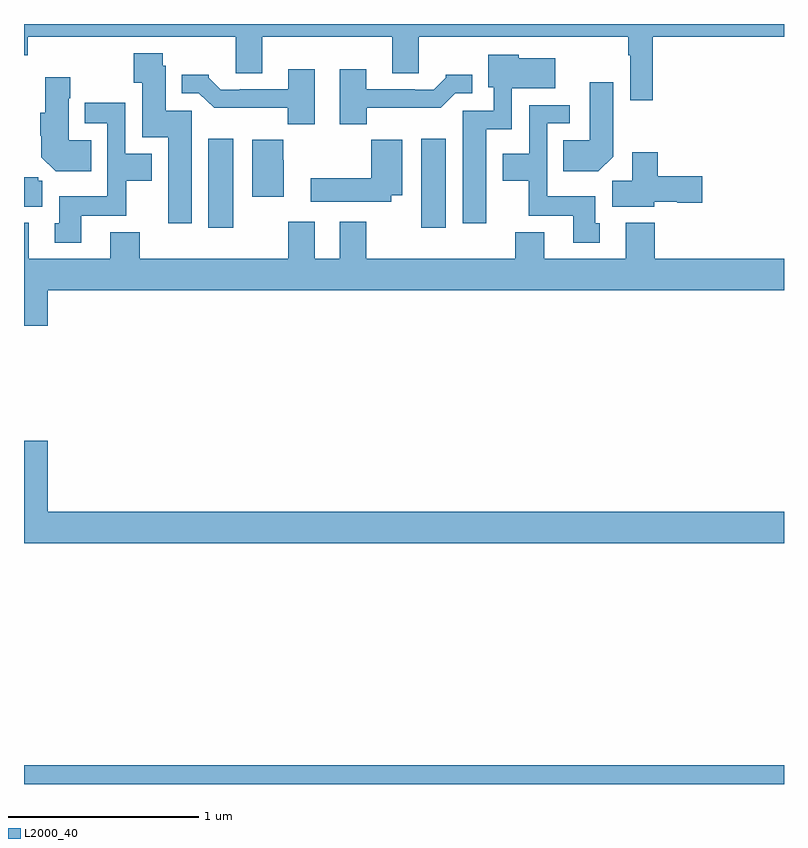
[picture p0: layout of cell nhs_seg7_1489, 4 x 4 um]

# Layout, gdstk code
import gdstk
lib = gdstk.Library(unit=1e-6, precision=1e-09)
def R(c, l, rs):  # rectangles x0, y0, x1, y1
    for r in rs: c.add(gdstk.rectangle(r[:2], r[2:], *l))
def P(c, l, *ps):  # polygons
    for p in ps: c.add(gdstk.Polygon(p, *l))
L2000_40 = (2000, 40)

nhs_seg7_1489 = lib.new_cell('nhs_seg7_1489')
R(nhs_seg7_1489, L2000_40, [(213,1014,217,1014.1), (213.971,1016.928,214.102,1017.397), (215.09,1016.928,215.221,1017.397)])
P(nhs_seg7_1489, L2000_40, [(217,1018),(213,1018),(213,1017.836),(213.02,1017.836),(213.02,1017.932),(214.115,1017.932),(214.115,1017.742),(214.255,1017.742),(214.255,1017.932),(214.937,1017.932),(214.937,1017.742),(215.077,1017.742),(215.077,1017.932),(216.18,1017.932),(216.18,1017.836),(216.192,1017.836),(216.192,1017.6),(216.308,1017.6),(216.308,1017.932),(217,1017.932)],
  [(213.883,1017.543),(213.745,1017.543),(213.745,1017.78),(213.729,1017.78),(213.729,1017.847),(213.577,1017.847),(213.577,1017.691),(213.623,1017.691),(213.623,1017.404),(213.758,1017.404),(213.758,1016.952),(213.883,1016.952)],
  [(215.434,1017.446),(215.568,1017.446),(215.568,1017.662),(215.797,1017.662),(215.797,1017.82),(215.604,1017.82),(215.604,1017.838),(215.444,1017.838),(215.444,1017.666),(215.472,1017.666),(215.472,1017.543),(215.309,1017.543),(215.309,1016.952),(215.434,1016.952)],
  [(214.531,1017.763),(214.391,1017.763),(214.391,1017.657),(214.135,1017.657),(214.135,1017.654),(214.036,1017.654),(213.972,1017.718),(213.972,1017.733),(213.83,1017.733),(213.83,1017.636),(213.921,1017.636),(214,1017.558),(214.389,1017.558),(214.389,1017.473),(214.531,1017.473)],
  [(214.804,1017.558),(215.193,1017.558),(215.271,1017.636),(215.359,1017.636),(215.359,1017.733),(215.22,1017.733),(215.22,1017.718),(215.156,1017.654),(215.057,1017.654),(215.057,1017.657),(214.801,1017.657),(214.801,1017.763),(214.661,1017.763),(214.661,1017.473),(214.804,1017.473)],
  [(213.353,1017.388),(213.235,1017.388),(213.235,1017.608),(213.243,1017.608),(213.243,1017.721),(213.113,1017.721),(213.113,1017.534),(213.085,1017.534),(213.085,1017.412),(213.092,1017.412),(213.092,1017.298),(213.166,1017.224),(213.353,1017.224)],
  [(216.1,1017.302),(216.1,1017.694),(215.978,1017.694),(215.978,1017.388),(215.839,1017.388),(215.839,1017.224),(216.022,1017.224)],
  [(213.301,1016.99),(213.537,1016.99),(213.537,1017.176),(213.673,1017.176),(213.673,1017.316),(213.534,1017.316),(213.534,1017.586),(213.321,1017.586),(213.321,1017.477),(213.438,1017.477),(213.438,1017.094),(213.185,1017.094),(213.185,1016.952),(213.161,1016.952),(213.161,1016.85),(213.301,1016.85)],
  [(216.031,1016.952),(216.007,1016.952),(216.007,1017.094),(215.754,1017.094),(215.754,1017.477),(215.872,1017.477),(215.872,1017.573),(215.658,1017.573),(215.658,1017.316),(215.519,1017.316),(215.519,1017.176),(215.656,1017.176),(215.656,1016.99),(215.891,1016.99),(215.891,1016.85),(216.031,1016.85)],
  [(214.932,1017.098),(214.99,1017.098),(214.99,1017.391),(214.828,1017.391),(214.828,1017.187),(214.509,1017.187),(214.509,1017.065),(214.932,1017.065)],
  [(214.366,1017.283),(214.364,1017.283),(214.364,1017.391),(214.202,1017.391),(214.202,1017.09),(214.366,1017.09)],
  [(216.318,1017.065),(216.438,1017.065),(216.438,1017.058),(216.571,1017.058),(216.571,1017.2),(216.335,1017.2),(216.335,1017.325),(216.2,1017.325),(216.2,1017.176),(216.095,1017.176),(216.095,1017.038),(216.318,1017.038)],
  [(213.096,1017.174),(213.075,1017.174),(213.075,1017.194),(213,1017.194),(213,1017.038),(213.096,1017.038)],
  [(213.124,1016.6),(217,1016.6),(217,1016.764),(216.32,1016.764),(216.32,1016.953),(216.167,1016.953),(216.167,1016.764),(215.737,1016.764),(215.737,1016.905),(215.585,1016.905),(215.585,1016.764),(214.801,1016.764),(214.801,1016.959),(214.661,1016.959),(214.661,1016.764),(214.531,1016.764),(214.531,1016.959),(214.391,1016.959),(214.391,1016.764),(213.608,1016.764),(213.608,1016.905),(213.455,1016.905),(213.455,1016.764),(213.025,1016.764),(213.025,1016.953),(213,1016.953),(213,1016.412),(213.124,1016.412)],
  [(217,1015.432),(213.124,1015.432),(213.124,1015.807),(213,1015.807),(213,1015.268),(217,1015.268)])

lib.write_gds('nhs_seg7_1489.gds')
